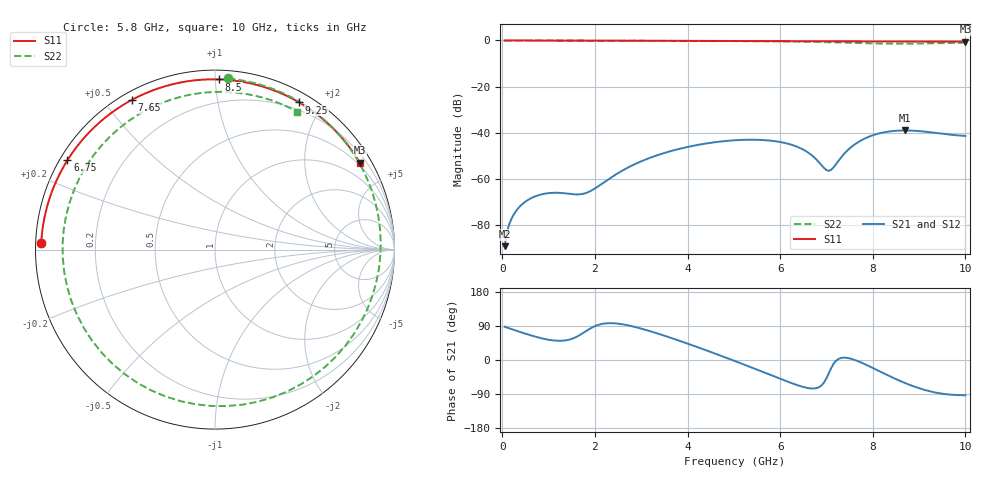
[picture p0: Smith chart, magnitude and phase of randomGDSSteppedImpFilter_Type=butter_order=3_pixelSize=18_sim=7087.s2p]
! freq	dB(S11)	phase(S11)	dB(S12)	phase(S12)
!  dB(S21)	phase(S21)	dB(S22)	phase(S22)
!S-par simulation data
#  GHz  S  DB  R 50
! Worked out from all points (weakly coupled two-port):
!   200 points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, 50 MHz to 10 GHz, reference 50 ohm
!   highest |S21| = -38.94 dB at 8.7 GHz (marker M1); lowest = -89.0 dB at 50 MHz (marker M2)
!   lowest |S11| = -0.5 dB at 10 GHz (marker M3), VSWR 32.74, Z = 21.1 + j178 ohm
!   |S11| at or under -10 dB: nowhere
!   |S22| runs from -1.4 to 0.0 dB; largest |S21 - S12| = 0
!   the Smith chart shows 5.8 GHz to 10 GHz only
!   S11 on the Smith chart (normalised r, x): 5.8 GHz: 0.02, +0.02; 6.75 GHz: 0.02, +0.28; 7.65 GHz: 0.03, +0.59; 8.5 GHz: 0.05, +1.02; 9.25 GHz: 0.11, +1.72; 10 GHz: 0.42, +3.55
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0.05  -0.00 -1.8  -88.98 87.9  -88.98 87.9  -0.00 -2.5
0.4  -0.02 -14.2  -71.38 73.4  -71.38 73.4  -0.03 -20.1
0.7  -0.03 -24.8  -67.52 62.1  -67.52 62.1  -0.05 -35.0
1.75  -0.08 -60.7  -66.31 71.7  -66.31 71.7  -0.10 -84.9
2.5  -0.11 -84.9  -57.37 95.9  -57.37 95.9  -0.14 -118.1
3.4  -0.14 -112.4  -49.30 68.1  -49.30 68.1  -0.18 -156.6
4.25  -0.18 -137.2  -45.08 32.4  -45.08 32.4  -0.23 166.3
5.05  -0.23 -160.3  -43.14 -4.0  -43.14 -4.0  -0.30 128.0
5.8  -0.27 177.9  -43.36 -39.9  -43.36 -39.9  -0.39 85.6
6.25  -0.31 164.4  -45.15 -61.2  -45.15 -61.2  -0.47 55.4
6.7  -0.34 150.4  -49.95 -75.3  -49.95 -75.3  -0.60 20.1
6.75  -0.34 148.8  -50.84 -75.0  -50.84 -75.0  -0.62 15.9
7.05  -0.37 139.2  -56.40 -35.1  -56.40 -35.1  -0.75 -11.4
7.35  -0.39 129.3  -49.74 6.0  -49.74 6.0  -0.92 -41.6
7.65  -0.41 119.1  -44.41 -1.7  -44.41 -1.7  -1.11 -74.3
8  -0.43 106.9  -41.01 -21.0  -41.01 -21.0  -1.30 -114.4
8.35  -0.45 94.2  -39.38 -41.9  -39.38 -41.9  -1.41 -154.6
8.5  -0.46 88.7  -39.07 -50.4  -39.07 -50.4  -1.42 -171.3
8.7  -0.47 81.2  -38.94 -61.0  -38.94 -61.0  -1.40 167.4
9.25  -0.50 60.2  -39.72 -83.1  -39.72 -83.1  -1.24 115.1
9.6  -0.51 46.6  -40.58 -90.5  -40.58 -90.5  -1.11 87.0
10  -0.53 31.0  -41.28 -93.0  -41.28 -93.0  -0.97 59.1
